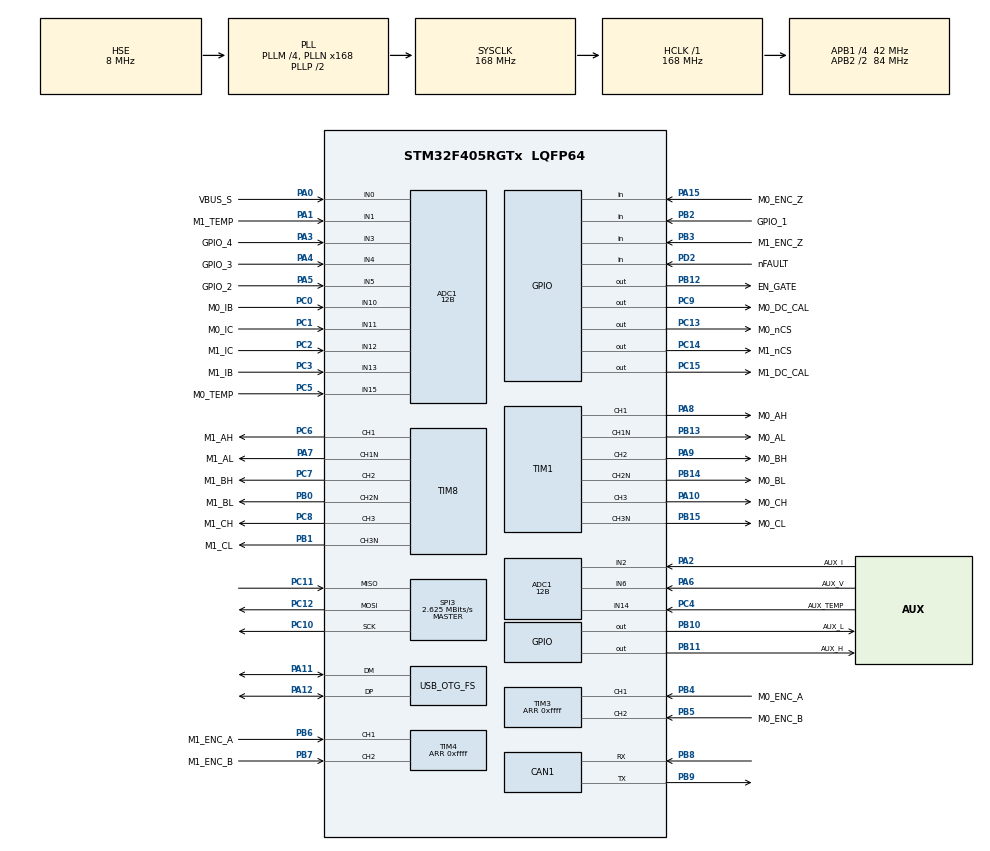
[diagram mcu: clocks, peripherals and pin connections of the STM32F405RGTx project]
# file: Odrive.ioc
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ADC1.Channel-0\#ChannelRegularConversion=ADC_CHANNEL_5
ADC1.Channel-1\#ChannelInjectedConversion=ADC_CHANNEL_0
ADC1.ClockPrescaler=ADC_CLOCK_SYNC_PCLK_DIV4
ADC1.ContinuousConvMode=DISABLE
ADC1.DMAContinuousRequests=DISABLE
ADC1.DataAlign=ADC_DATAALIGN_RIGHT
ADC1.DiscontinuousConvMode=DISABLE
ADC1.EOCSelection=ADC_EOC_SINGLE_CONV
ADC1.EnableAnalogWatchDog=false
ADC1.ExternalTrigConv=ADC_EXTERNALTRIGCONV_T1_CC1
ADC1.ExternalTrigConvEdge=ADC_EXTERNALTRIGCONVEDGE_NONE
ADC1.ExternalTrigInjecConv=ADC_EXTERNALTRIGINJECCONV_T1_CC4
ADC1.ExternalTrigInjecConvEdge=ADC_EXTERNALTRIGINJECCONVEDGE_RISING
ADC1.InjNumberOfConversion=1
ADC1.InjectedConvMode=None
ADC1.InjectedOffset-1\#ChannelInjectedConversion=0
ADC1.NbrOfConversion=1
ADC1.NbrOfConversionFlag=1
ADC1.Rank-0\#ChannelRegularConversion=1
ADC1.Rank-1\#ChannelInjectedConversion=1
ADC1.Resolution=ADC_RESOLUTION_12B
ADC1.SamplingTime-0\#ChannelRegularConversion=ADC_SAMPLETIME_3CYCLES
ADC1.SamplingTime-1\#ChannelInjectedConversion=ADC_SAMPLETIME_3CYCLES
ADC1.ScanConvMode=DISABLE
ADC1.master=1
ADC2.Channel-0\#ChannelRegularConversion=ADC_CHANNEL_13
ADC2.Channel-1\#ChannelInjectedConversion=ADC_CHANNEL_10
ADC2.ClockPrescaler=ADC_CLOCK_SYNC_PCLK_DIV4
ADC2.ContinuousConvMode=DISABLE
ADC2.DMAContinuousRequests=DISABLE
ADC2.DataAlign=ADC_DATAALIGN_RIGHT
ADC2.DiscontinuousConvMode=DISABLE
ADC2.EOCSelection=ADC_EOC_SINGLE_CONV
ADC2.EnableAnalogWatchDog=false
ADC2.ExternalTrigConv=ADC_EXTERNALTRIGCONV_T8_TRGO
ADC2.ExternalTrigConvEdge=ADC_EXTERNALTRIGCONVEDGE_RISING
ADC2.ExternalTrigInjecConv=ADC_EXTERNALTRIGINJECCONV_T1_CC4
ADC2.ExternalTrigInjecConvEdge=ADC_EXTERNALTRIGINJECCONVEDGE_RISING
ADC2.InjNumberOfConversion=1
ADC2.InjectedConvMode=None
ADC2.InjectedOffset-1\#ChannelInjectedConversion=0
ADC2.NbrOfConversion=1
ADC2.NbrOfConversionFlag=1
ADC2.Rank-0\#ChannelRegularConversion=1
ADC2.Rank-1\#ChannelInjectedConversion=1
ADC2.Resolution=ADC_RESOLUTION_12B
ADC2.SamplingTime-0\#ChannelRegularConversion=ADC_SAMPLETIME_3CYCLES
ADC2.SamplingTime-1\#ChannelInjectedConversion=ADC_SAMPLETIME_3CYCLES
ADC2.ScanConvMode=DISABLE
ADC3.Channel-7\#ChannelRegularConversion=ADC_CHANNEL_12
ADC3.Channel-8\#ChannelInjectedConversion=ADC_CHANNEL_11
ADC3.ClockPrescaler=ADC_CLOCK_SYNC_PCLK_DIV4
ADC3.ContinuousConvMode=DISABLE
ADC3.DMAContinuousRequests=DISABLE
ADC3.DataAlign=ADC_DATAALIGN_RIGHT
ADC3.DiscontinuousConvMode=DISABLE
ADC3.EOCSelection=ADC_EOC_SINGLE_CONV
ADC3.EnableAnalogWatchDog=false
ADC3.ExternalTrigConv=ADC_EXTERNALTRIGCONV_T8_TRGO
ADC3.ExternalTrigConvEdge=ADC_EXTERNALTRIGCONVEDGE_RISING
ADC3.ExternalTrigInjecConv=ADC_EXTERNALTRIGINJECCONV_T1_CC4
ADC3.ExternalTrigInjecConvEdge=ADC_EXTERNALTRIGINJECCONVEDGE_RISING
ADC3.InjNumberOfConversion=1
ADC3.InjectedConvMode=None
ADC3.InjectedOffset-8\#ChannelInjectedConversion=0
ADC3.NbrOfConversion=1
ADC3.NbrOfConversionFlag=1
ADC3.Rank-7\#ChannelRegularConversion=1
ADC3.Rank-8\#ChannelInjectedConversion=1
ADC3.Resolution=ADC_RESOLUTION_12B
ADC3.SamplingTime-7\#ChannelRegularConversion=ADC_SAMPLETIME_3CYCLES
ADC3.SamplingTime-8\#ChannelInjectedConversion=ADC_SAMPLETIME_3CYCLES
ADC3.ScanConvMode=DISABLE
CAN1.CalculateTimeBit=1142
CAN1.CalculateTimeQuantum=380.95238095238096
FREERTOS.INCLUDE_vTaskDelayUntil=1
FREERTOS.Tasks01=defaultTask,-3,256,StartDefaultTask,Default
Mcu.Family=STM32F4
Mcu.Name=STM32F405RGTx
Mcu.Package=LQFP64
Mcu.UserConstants=TIM_CLOCK_HZ,168000000;TIM_PERIOD_CLOCKS,8192;TIM_DEADTIME_CLOCKS,20
NVIC.ADC_IRQn=true\:5\:0\:false\:true\:true\:1\:true
NVIC.OTG_FS_IRQn=true\:5\:0\:false\:false\:true\:true
NVIC.PriorityGroup=NVIC_PRIORITYGROUP_4
PA0-WKUP.GPIO_Label=VBUS_S
PA0-WKUP.Signal=ADCx_IN0
PA1.GPIO_Label=M1_TEMP
PA1.Signal=ADCx_IN1
PA10.GPIO_Label=M0_CH
PA10.Signal=S_TIM1_CH3
PA11.Mode=Device_Only
PA11.Signal=USB_OTG_FS_DM
PA12.Mode=Device_Only
PA12.Signal=USB_OTG_FS_DP
PA13.Mode=Serial_Wire
PA13.Signal=SYS_JTMS-SWDIO
PA14.Mode=Serial_Wire
PA14.Signal=SYS_JTCK-SWCLK
PA15.GPIO_Label=M0_ENC_Z
PA15.Signal=GPIO_Input
PA2.GPIO_Label=AUX_I
PA2.Signal=ADCx_IN2
PA3.GPIO_Label=GPIO_4
PA3.Signal=ADCx_IN3
PA4.GPIO_Label=GPIO_3
PA4.Signal=ADCx_IN4
PA5.GPIO_Label=GPIO_2
PA5.Signal=ADCx_IN5
PA6.GPIO_Label=AUX_V
PA6.Signal=ADCx_IN6
PA7.GPIO_Label=M1_AL
PA7.Mode=PWM Generation1 CH1 CH1N
PA7.Signal=TIM8_CH1N
PA8.GPIO_Label=M0_AH
PA8.Signal=S_TIM1_CH1
PA9.GPIO_Label=M0_BH
PA9.Signal=S_TIM1_CH2
PB0.GPIO_Label=M1_BL
PB0.Mode=PWM Generation2 CH2 CH2N
PB0.Signal=TIM8_CH2N
PB1.GPIO_Label=M1_CL
PB1.Mode=PWM Generation3 CH3 CH3N
PB1.Signal=TIM8_CH3N
PB10.GPIO_Label=AUX_L
PB10.Signal=GPIO_Output
PB11.GPIO_Label=AUX_H
PB11.Signal=GPIO_Output
PB12.GPIO_Label=EN_GATE
PB12.Signal=GPIO_Output
PB13.GPIO_Label=M0_AL
PB13.Mode=PWM Generation1 CH1 CH1N
PB13.Signal=TIM1_CH1N
PB14.GPIO_Label=M0_BL
PB14.Mode=PWM Generation2 CH2 CH2N
PB14.Signal=TIM1_CH2N
PB15.GPIO_Label=M0_CL
PB15.Mode=PWM Generation3 CH3 CH3N
PB15.Signal=TIM1_CH3N
PB2.GPIO_Label=GPIO_1
PB2.Signal=GPIO_Input
PB3.GPIO_Label=M1_ENC_Z
PB3.Signal=GPIO_Input
PB4.GPIO_Label=M0_ENC_A
PB4.Signal=S_TIM3_CH1
PB5.GPIO_Label=M0_ENC_B
PB5.Signal=S_TIM3_CH2
PB6.GPIO_Label=M1_ENC_A
PB6.Signal=S_TIM4_CH1
PB7.GPIO_Label=M1_ENC_B
PB7.Signal=S_TIM4_CH2
PB8.Mode=Master
PB8.Signal=CAN1_RX
PB9.Mode=Master
PB9.Signal=CAN1_TX
PC0.GPIO_Label=M0_IB
PC0.Signal=ADCx_IN10
PC1.GPIO_Label=M0_IC
PC1.Signal=ADCx_IN11
PC10.Mode=Full_Duplex_Master
PC10.Signal=SPI3_SCK
PC11.Mode=Full_Duplex_Master
PC11.Signal=SPI3_MISO
PC12.Mode=Full_Duplex_Master
PC12.Signal=SPI3_MOSI
PC13-ANTI_TAMP.GPIO_Label=M0_nCS
PC13-ANTI_TAMP.PinState=GPIO_PIN_SET
PC13-ANTI_TAMP.Signal=GPIO_Output
PC14-OSC32_IN.GPIO_Label=M1_nCS
PC14-OSC32_IN.PinState=GPIO_PIN_SET
PC14-OSC32_IN.Signal=GPIO_Output
PC15-OSC32_OUT.GPIO_Label=M1_DC_CAL
PC15-OSC32_OUT.Signal=GPIO_Output
PC2.GPIO_Label=M1_IC
PC2.Signal=ADCx_IN12
PC3.GPIO_Label=M1_IB
PC3.Signal=ADCx_IN13
PC4.GPIO_Label=AUX_TEMP
PC4.Signal=ADCx_IN14
PC5.GPIO_Label=M0_TEMP
PC5.Signal=ADCx_IN15
PC6.GPIO_Label=M1_AH
PC6.Signal=S_TIM8_CH1
PC7.GPIO_Label=M1_BH
PC7.Signal=S_TIM8_CH2
PC8.GPIO_Label=M1_CH
PC8.Signal=S_TIM8_CH3
PC9.GPIO_Label=M0_DC_CAL
PC9.Signal=GPIO_Output
PD2.GPIO_Label=nFAULT
PD2.GPIO_PuPd=GPIO_PULLUP
PD2.Signal=GPIO_Input
PH0-OSC_IN.Mode=HSE-External-Oscillator
PH0-OSC_IN.Signal=RCC_OSC_IN
PH1-OSC_OUT.Mode=HSE-External-Oscillator
PH1-OSC_OUT.Signal=RCC_OSC_OUT
ProjectManager.HeapSize=0x3C00
ProjectManager.StackSize=0x800
ProjectManager.TargetToolchain=SW4STM32
RCC.48MHZClocksFreq_Value=48000000
RCC.AHBFreq_Value=168000000
RCC.APB1CLKDivider=RCC_HCLK_DIV4
RCC.APB1Freq_Value=42000000
RCC.APB1TimCLKDivider=2
RCC.APB1TimFreq_Value=84000000
RCC.APB2CLKDivider=RCC_HCLK_DIV2
RCC.APB2Freq_Value=84000000
RCC.APB2TimCLKDivider=1
RCC.APB2TimFreq_Value=84000000
RCC.CortexFreq_Value=168000000
RCC.HCLKFreq_Value=168000000
RCC.HSE_VALUE=8000000
RCC.HSI_VALUE=16000000
RCC.LSE_VALUE=32768
RCC.PLLM=4
RCC.PLLN=168
RCC.PLLQ=7
RCC.SYSCLKFreq_VALUE=168000000
RCC.SYSCLKSource=RCC_SYSCLKSOURCE_PLLCLK
RCC.VCOOutputFreq_Value=336000000
SH.ADCx_IN0.0=ADC1_IN0,IN0
SH.ADCx_IN0.1=ADC2_IN0,IN0
SH.ADCx_IN1.0=ADC1_IN1,IN1
SH.ADCx_IN1.1=ADC2_IN1,IN1
SH.ADCx_IN10.0=ADC1_IN10,IN10
SH.ADCx_IN10.1=ADC2_IN10,IN10
SH.ADCx_IN10.2=ADC3_IN10,IN10
SH.ADCx_IN11.0=ADC1_IN11,IN11
SH.ADCx_IN11.1=ADC2_IN11,IN11
SH.ADCx_IN11.2=ADC3_IN11,IN11
SH.ADCx_IN12.0=ADC1_IN12,IN12
SH.ADCx_IN12.1=ADC2_IN12,IN12
SH.ADCx_IN12.2=ADC3_IN12,IN12
SH.ADCx_IN13.0=ADC1_IN13,IN13
SH.ADCx_IN13.1=ADC2_IN13,IN13
SH.ADCx_IN13.2=ADC3_IN13,IN13
SH.ADCx_IN14.0=ADC1_IN14,IN14
SH.ADCx_IN14.1=ADC2_IN14,IN14
SH.ADCx_IN15.0=ADC1_IN15,IN15
SH.ADCx_IN15.1=ADC2_IN15,IN15
SH.ADCx_IN2.0=ADC1_IN2,IN2
SH.ADCx_IN2.1=ADC2_IN2,IN2
SH.ADCx_IN3.0=ADC1_IN3,IN3
SH.ADCx_IN3.1=ADC2_IN3,IN3
SH.ADCx_IN4.0=ADC1_IN4,IN4
SH.ADCx_IN4.1=ADC2_IN4,IN4
SH.ADCx_IN5.0=ADC1_IN5,IN5
SH.ADCx_IN5.1=ADC2_IN5,IN5
SH.ADCx_IN6.0=ADC1_IN6,IN6
SH.ADCx_IN6.1=ADC2_IN6,IN6
SH.S_TIM1_CH1.0=TIM1_CH1,PWM Generation1 CH1 CH1N
SH.S_TIM1_CH2.0=TIM1_CH2,PWM Generation2 CH2 CH2N
SH.S_TIM1_CH3.0=TIM1_CH3,PWM Generation3 CH3 CH3N
SH.S_TIM3_CH1.0=TIM3_CH1,Encoder_Interface
SH.S_TIM3_CH2.0=TIM3_CH2,Encoder_Interface
SH.S_TIM4_CH1.0=TIM4_CH1,Encoder_Interface
SH.S_TIM4_CH2.0=TIM4_CH2,Encoder_Interface
SH.S_TIM8_CH1.0=TIM8_CH1,PWM Generation1 CH1 CH1N
SH.S_TIM8_CH2.0=TIM8_CH2,PWM Generation2 CH2 CH2N
SH.S_TIM8_CH3.0=TIM8_CH3,PWM Generation3 CH3 CH3N
SPI3.BaudRatePrescaler=SPI_BAUDRATEPRESCALER_16
SPI3.CLKPhase=SPI_PHASE_2EDGE
SPI3.CalculateBaudRate=2.625 MBits/s
SPI3.DataSize=SPI_DATASIZE_16BIT
SPI3.FirstBit=SPI_FIRSTBIT_MSB
SPI3.Mode=SPI_MODE_MASTER
TIM1.Channel-Output\ Compare4\ No\ Output=TIM_CHANNEL_4
TIM1.Channel-PWM\ Generation2\ CH2\ CH2N=TIM_CHANNEL_2
TIM1.Channel-PWM\ Generation3\ CH3\ CH3N=TIM_CHANNEL_3
TIM1.CounterMode=TIM_COUNTERMODE_CENTERALIGNED3
TIM1.DeadTime=TIM_DEADTIME_CLOCKS
TIM1.OCMode_PWM-PWM\ Generation1\ CH1\ CH1N=TIM_OCMODE_PWM2
TIM1.OCMode_PWM-PWM\ Generation2\ CH2\ CH2N=TIM_OCMODE_PWM2
TIM1.OCMode_PWM-PWM\ Generation3\ CH3\ CH3N=TIM_OCMODE_PWM2
TIM1.OCNPolarity_1=TIM_OCNPOLARITY_HIGH
TIM1.OCNPolarity_2=TIM_OCNPOLARITY_HIGH
TIM1.OCNPolarity_3=TIM_OCNPOLARITY_HIGH
TIM1.OffStateIDLEMode=TIM_OSSI_ENABLE
TIM1.OffStateRunMode=TIM_OSSR_ENABLE
TIM1.Period=TIM_PERIOD_CLOCKS
TIM1.TIM_MasterOutputTrigger=TIM_TRGO_UPDATE
TIM3.EncoderMode=TIM_ENCODERMODE_TI12
TIM3.IC1Filter=4
TIM3.IC1Polarity=TIM_ICPOLARITY_RISING
TIM3.IC2Filter=4
TIM3.IC2Polarity=TIM_ICPOLARITY_RISING
TIM3.Period=0xffff
TIM4.EncoderMode=TIM_ENCODERMODE_TI12
TIM4.IC1Filter=4
TIM4.IC1Polarity=TIM_ICPOLARITY_RISING
TIM4.IC2Filter=4
TIM4.IC2Polarity=TIM_ICPOLARITY_RISING
TIM4.Period=0xffff
TIM8.Channel-Output\ Compare4\ No\ Output=TIM_CHANNEL_4
TIM8.Channel-PWM\ Generation2\ CH2\ CH2N=TIM_CHANNEL_2
TIM8.Channel-PWM\ Generation3\ CH3\ CH3N=TIM_CHANNEL_3
TIM8.CounterMode=TIM_COUNTERMODE_CENTERALIGNED3
TIM8.DeadTime=TIM_DEADTIME_CLOCKS
TIM8.OCMode_PWM-PWM\ Generation1\ CH1\ CH1N=TIM_OCMODE_PWM2
TIM8.OCMode_PWM-PWM\ Generation2\ CH2\ CH2N=TIM_OCMODE_PWM2
TIM8.OCMode_PWM-PWM\ Generation3\ CH3\ CH3N=TIM_OCMODE_PWM2
TIM8.OffStateIDLEMode=TIM_OSSI_ENABLE
TIM8.OffStateRunMode=TIM_OSSR_ENABLE
TIM8.Period=TIM_PERIOD_CLOCKS
TIM8.TIM_MasterOutputTrigger=TIM_TRGO_UPDATE
USB_DEVICE.CLASS_NAME-CDC_FS=CDC
USB_DEVICE.CLASS_NAME_FS=CDC
USB_DEVICE.USBD_HandleTypeDef-CDC_FS=hUsbDeviceFS
USB_DEVICE.VirtualMode-CDC_FS=Cdc
USB_DEVICE.VirtualModeFS=Cdc_FS
USB_OTG_FS.VirtualMode=Device_Only
VP_FREERTOS_VS_ENABLE.Mode=Enabled
VP_TIM1_VS_ClockSourceINT.Mode=Internal
VP_TIM1_VS_no_output4.Mode=Output Compare4 No Output
VP_TIM8_VS_ClockSourceINT.Mode=Internal
VP_TIM8_VS_no_output4.Mode=Output Compare4 No Output
VP_USB_DEVICE_VS_USB_DEVICE_CDC_FS.Mode=CDC_FS
board=Odrive

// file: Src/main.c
/**
  ******************************************************************************
  * File Name          : main.c
  * Description        : Main program body
  ******************************************************************************
  *
  * Copyright (c) 2017 STMicroelectronics International N.V.
  * All rights reserved.
  *
  * Redistribution and use in source and binary forms, with or without
  * modification, are permitted, provided that the following conditions are met:
  *
  * 1. Redistribution of source code must retain the above copyright notice,
  *    this list of conditions and the following disclaimer.
  * 2. Redistributions in binary form must reproduce the above copyright notice,
  *    this list of conditions and the following disclaimer in the documentation
  *    and/or other materials provided with the distribution.
  * 3. Neither the name of STMicroelectronics nor the names of other
  *    contributors to this software may be used to endorse or promote products
  *    derived from this software without specific written permission.
  * 4. This software, including modifications and/or derivative works of this
  *    software, must execute solely and exclusively on microcontroller or
  *    microprocessor devices manufactured by or for STMicroelectronics.
  * 5. Redistribution and use of this software other than as permitted under
  *    this license is void and will automatically terminate your rights under
  *    this license.
  *
  * THIS SOFTWARE IS PROVIDED BY STMICROELECTRONICS AND CONTRIBUTORS "AS IS"
  * AND ANY EXPRESS, IMPLIED OR STATUTORY WARRANTIES, INCLUDING, BUT NOT
  * LIMITED TO, THE IMPLIED WARRANTIES OF MERCHANTABILITY, FITNESS FOR A
  * PARTICULAR PURPOSE AND NON-INFRINGEMENT OF THIRD PARTY INTELLECTUAL PROPERTY
  * RIGHTS ARE DISCLAIMED TO THE FULLEST EXTENT PERMITTED BY LAW. IN NO EVENT
  * SHALL STMICROELECTRONICS OR CONTRIBUTORS BE LIABLE FOR ANY DIRECT, INDIRECT,
  * INCIDENTAL, SPECIAL, EXEMPLARY, OR CONSEQUENTIAL DAMAGES (INCLUDING, BUT NOT
  * LIMITED TO, PROCUREMENT OF SUBSTITUTE GOODS OR SERVICES; LOSS OF USE, DATA,
  * OR PROFITS; OR BUSINESS INTERRUPTION) HOWEVER CAUSED AND ON ANY THEORY OF
  * LIABILITY, WHETHER IN CONTRACT, STRICT LIABILITY, OR TORT (INCLUDING
  * NEGLIGENCE OR OTHERWISE) ARISING IN ANY WAY OUT OF THE USE OF THIS SOFTWARE,
  * EVEN IF ADVISED OF THE POSSIBILITY OF SUCH DAMAGE.
  *
  ******************************************************************************
  */
#include "main.h"
#include "stm32f4xx_hal.h"
#include "cmsis_os.h"
#include "adc.h"
#include "can.h"
#include "spi.h"
#include "tim.h"
#include "usb_device.h"
#include "gpio.h"

/* USER CODE BEGIN Includes */
#include "usb_device.h"
/* USER CODE END Includes */

/* USER CODE BEGIN PV */
/* Private variables ---------------------------------------------------------*/

/* USER CODE END PV */

void SystemClock_Config(void);
void Error_Handler(void);
void MX_FREERTOS_Init(void);
static void MX_NVIC_Init(void);

/* USER CODE BEGIN PFP */
/* Private function prototypes -----------------------------------------------*/

/* USER CODE END PFP */

int main(void)
{

  /* MCU Configuration----------------------------------------------------------*/

  /* Reset of all peripherals, Initializes the Flash interface and the Systick. */
	HAL_Init();

  /* Configure the system clock */
  SystemClock_Config();

  /* Initialize all configured peripherals */
  MX_GPIO_Init();
  MX_ADC1_Init();
  MX_ADC2_Init();
  MX_CAN1_Init();
  MX_TIM1_Init();
  MX_TIM8_Init();
  MX_TIM3_Init();
  MX_TIM4_Init();
  MX_SPI3_Init();
  MX_ADC3_Init();

  /* Initialize interrupts */
  MX_NVIC_Init();

  /* USER CODE BEGIN 2 */

  //Required to use OC4 for ADC triggering.
  OC4_PWM_Override(&htim1);
  OC4_PWM_Override(&htim8);

  /* Call init function for freertos objects (in freertos.c) */
  MX_FREERTOS_Init();

  /* Start scheduler */
  osKernelStart();

  /* We should never get here as control is now taken by the scheduler */

  /* Infinite loop */
  while (1)
  {

  }

}

/** System Clock Configuration
*/
void SystemClock_Config(void)
{

  RCC_OscInitTypeDef RCC_OscInitStruct;
  RCC_ClkInitTypeDef RCC_ClkInitStruct;

    /**Configure the main internal regulator output voltage
    */
  __HAL_RCC_PWR_CLK_ENABLE();

  __HAL_PWR_VOLTAGESCALING_CONFIG(PWR_REGULATOR_VOLTAGE_SCALE1);

    /**Initializes the CPU, AHB and APB busses clocks
    */
  RCC_OscInitStruct.OscillatorType = RCC_OSCILLATORTYPE_HSE;
  RCC_OscInitStruct.HSEState = RCC_HSE_ON;
  RCC_OscInitStruct.PLL.PLLState = RCC_PLL_ON;
  RCC_OscInitStruct.PLL.PLLSource = RCC_PLLSOURCE_HSE;
  RCC_OscInitStruct.PLL.PLLM = 4;
  RCC_OscInitStruct.PLL.PLLN = 168;
  RCC_OscInitStruct.PLL.PLLP = RCC_PLLP_DIV2;
  RCC_OscInitStruct.PLL.PLLQ = 7;
  if (HAL_RCC_OscConfig(&RCC_OscInitStruct) != HAL_OK)
  {
    Error_Handler();
  }

    /**Initializes the CPU, AHB and APB busses clocks
    */
  RCC_ClkInitStruct.ClockType = RCC_CLOCKTYPE_HCLK|RCC_CLOCKTYPE_SYSCLK
                              |RCC_CLOCKTYPE_PCLK1|RCC_CLOCKTYPE_PCLK2;
  RCC_ClkInitStruct.SYSCLKSource = RCC_SYSCLKSOURCE_PLLCLK;
  RCC_ClkInitStruct.AHBCLKDivider = RCC_SYSCLK_DIV1;
  RCC_ClkInitStruct.APB1CLKDivider = RCC_HCLK_DIV4;
  RCC_ClkInitStruct.APB2CLKDivider = RCC_HCLK_DIV2;

  if (HAL_RCC_ClockConfig(&RCC_ClkInitStruct, FLASH_LATENCY_5) != HAL_OK)
  {
    Error_Handler();
  }

    /**Configure the Systick interrupt time
    */
  HAL_SYSTICK_Config(HAL_RCC_GetHCLKFreq()/1000);

    /**Configure the Systick
    */
  HAL_SYSTICK_CLKSourceConfig(SYSTICK_CLKSOURCE_HCLK);

  /* SysTick_IRQn interrupt configuration */
  HAL_NVIC_SetPriority(SysTick_IRQn, 15, 0);
}

/** NVIC Configuration
*/
static void MX_NVIC_Init(void)
{
  /* ADC_IRQn interrupt configuration */
  HAL_NVIC_SetPriority(ADC_IRQn, 5, 0);
  HAL_NVIC_EnableIRQ(ADC_IRQn);
}

void Error_Handler(void)
{
  while(1)
  {
  }
}

/************************ (C) COPYRIGHT STMicroelectronics *****END OF FILE****/

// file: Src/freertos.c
/**
  ******************************************************************************
  * File Name          : freertos.c
  * Description        : Code for freertos applications
  ******************************************************************************
  *
  * Copyright (c) 2017 STMicroelectronics International N.V.
  * All rights reserved.
  *
  * Redistribution and use in source and binary forms, with or without
  * modification, are permitted, provided that the following conditions are met:
  *
  * 1. Redistribution of source code must retain the above copyright notice,
  *    this list of conditions and the following disclaimer.
  * 2. Redistributions in binary form must reproduce the above copyright notice,
  *    this list of conditions and the following disclaimer in the documentation
  *    and/or other materials provided with the distribution.
  * 3. Neither the name of STMicroelectronics nor the names of other
  *    contributors to this software may be used to endorse or promote products
  *    derived from this software without specific written permission.
  * 4. This software, including modifications and/or derivative works of this
  *    software, must execute solely and exclusively on microcontroller or
  *    microprocessor devices manufactured by or for STMicroelectronics.
  * 5. Redistribution and use of this software other than as permitted under
  *    this license is void and will automatically terminate your rights under
  *    this license.
  *
  * THIS SOFTWARE IS PROVIDED BY STMICROELECTRONICS AND CONTRIBUTORS "AS IS"
  * AND ANY EXPRESS, IMPLIED OR STATUTORY WARRANTIES, INCLUDING, BUT NOT
  * LIMITED TO, THE IMPLIED WARRANTIES OF MERCHANTABILITY, FITNESS FOR A
  * PARTICULAR PURPOSE AND NON-INFRINGEMENT OF THIRD PARTY INTELLECTUAL PROPERTY
  * RIGHTS ARE DISCLAIMED TO THE FULLEST EXTENT PERMITTED BY LAW. IN NO EVENT
  * SHALL STMICROELECTRONICS OR CONTRIBUTORS BE LIABLE FOR ANY DIRECT, INDIRECT,
  * INCIDENTAL, SPECIAL, EXEMPLARY, OR CONSEQUENTIAL DAMAGES (INCLUDING, BUT NOT
  * LIMITED TO, PROCUREMENT OF SUBSTITUTE GOODS OR SERVICES; LOSS OF USE, DATA,
  * OR PROFITS; OR BUSINESS INTERRUPTION) HOWEVER CAUSED AND ON ANY THEORY OF
  * LIABILITY, WHETHER IN CONTRACT, STRICT LIABILITY, OR TORT (INCLUDING
  * NEGLIGENCE OR OTHERWISE) ARISING IN ANY WAY OUT OF THE USE OF THIS SOFTWARE,
  * EVEN IF ADVISED OF THE POSSIBILITY OF SUCH DAMAGE.
  *
  ******************************************************************************
  */

#include "FreeRTOS.h"
#include "task.h"
#include "cmsis_os.h"

/* USER CODE BEGIN Includes */
#include "low_level.h"
#include "usbd_cdc.h"
#include "usbd_cdc_if.h"
#include <stdint.h>

/* USER CODE END Includes */

osThreadId defaultTaskHandle;

/* USER CODE BEGIN Variables */

void usb_cdc_thread (void const * unused_argument);

osThreadDef(task_motor_0, motor_thread, osPriorityHigh+1, 0, 512);
osThreadDef(task_motor_1, motor_thread, osPriorityHigh, 0, 512);
osThreadDef(task_usb_cdc, usb_cdc_thread, osPriorityHigh, 0, 512);

/* USER CODE END Variables */

void StartDefaultTask(void const * argument);

extern void MX_USB_DEVICE_Init(void);
void MX_FREERTOS_Init(void); /* (MISRA C 2004 rule 8.1) */

/* Hook prototypes */

/* Init FreeRTOS */

void MX_FREERTOS_Init(void) {

  /* Create the thread(s) */
  /* definition and creation of defaultTask */
  osThreadDef(defaultTask, StartDefaultTask, osPriorityIdle, 0, 256);
  defaultTaskHandle = osThreadCreate(osThread(defaultTask), NULL);

}

/* StartDefaultTask function */
void StartDefaultTask(void const * argument)
{
  /* init code for USB_DEVICE */
  MX_USB_DEVICE_Init();

  /* USER CODE BEGIN StartDefaultTask */
  // Init motor control
  init_motor_control();

  // Start motor threads

  // osThreadCreate(osThread(task_motor_0), &motors[0]);
  // osThreadCreate(osThread(task_motor_1), &motors[1]);

  osThreadCreate(osThread(task_usb_cdc), NULL);

  //If we get to here, then the default task is done.
  vTaskDelete(defaultTaskHandle);

  /* USER CODE END StartDefaultTask */
}

/* USER CODE BEGIN Application */

extern USBD_HandleTypeDef hUsbDeviceFS;
void usb_cdc_thread (void const * unused_argument) {
	osDelay(5100);
	while (1) {
		osDelay(10);
	}
}

/* USER CODE END Application */

/************************ (C) COPYRIGHT STMicroelectronics *****END OF FILE****/
